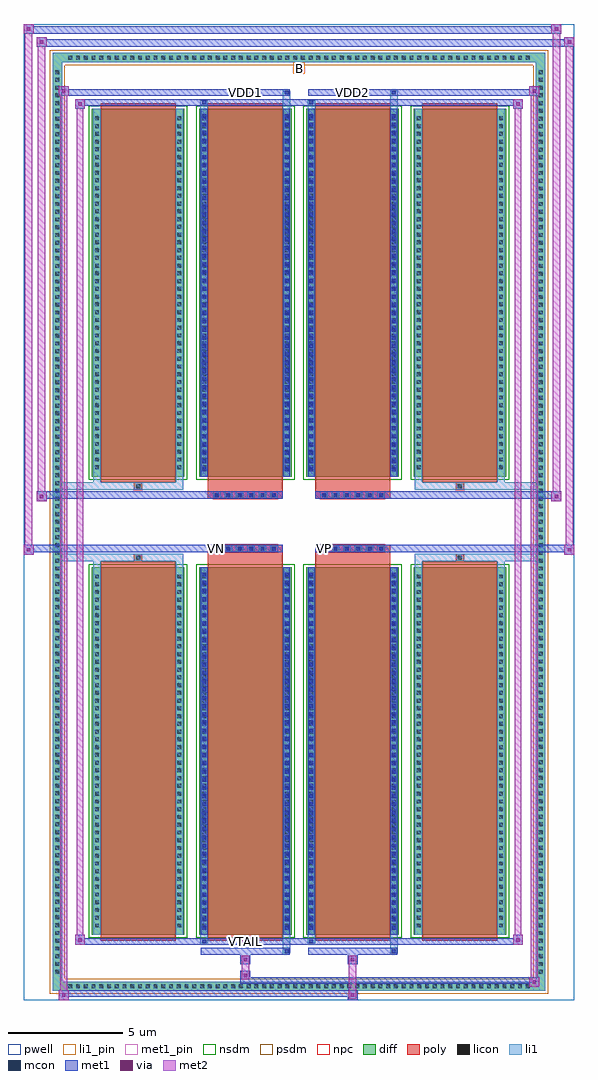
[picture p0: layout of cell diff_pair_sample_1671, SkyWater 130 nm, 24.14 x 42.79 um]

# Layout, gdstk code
import gdstk
lib = gdstk.Library(unit=1e-6, precision=5e-09)
def R(c, l, rs):  # rectangles x0, y0, x1, y1
    for r in rs: c.add(gdstk.rectangle(r[:2], r[2:], *l))
def A(c, l, x, y, w, h, nx, ny, dx, dy):  # array of equal rectangles
    R(c, l, [(x+i*dx, y+j*dy, x+i*dx+w, y+j*dy+h) for i in range(nx) for j in range(ny)])
def P(c, l, *ps):  # polygons
    for p in ps: c.add(gdstk.Polygon(p, *l))
pwell = (64, 44)
diff = (65, 20)
poly = (66, 20)
licon = (66, 44)
li1_pin = (67, 16)
li1 = (67, 20)
mcon = (67, 44)
met1_pin = (68, 16)
met1 = (68, 20)
via = (68, 44)
met2 = (69, 20)
nsdm = (93, 44)
psdm = (94, 20)
npc = (95, 20)

diff_pair_sample_1671 = lib.new_cell('diff_pair_sample_1671')
R(diff_pair_sample_1671, pwell, [(-12.07,-20.96,12.07,21.83), (-9.39,-19.15,-0.01,-0.805), (0.01,-19.15,9.39,-0.805), (-9.39,0.805,-0.01,19.15), (0.01,0.805,9.39,19.15)])
A(diff_pair_sample_1671, diff, -10.235, -20.56, 0.41, 0.41, 60, 2, 0.34, 40.71)
A(diff_pair_sample_1671, diff, -10.8, -19.925, 0.41, 0.41, 1, 117, 0, 0.34)
A(diff_pair_sample_1671, diff, 10.39, -19.925, 0.41, 0.41, 1, 117, 0, 0.34)
A(diff_pair_sample_1671, diff, -9.08, -18.105, 4.06, 16.12, 4, 2, 4.7, 20.09)
R(diff_pair_sample_1671, diff, [(-10.235,-20.56,10.235,-20.15), (-10.8,-19.925,-10.39,19.925), (10.39,-19.925,10.8,19.925), (-10.235,20.15,10.235,20.56)])
P(diff_pair_sample_1671, diff, [(10.8,20.56),(-10.8,20.56),(-10.8,-20.15),(-10.39,-20.15),(-10.39,20.15),(10.39,20.15),(10.39,-20.15),(-10.39,-20.15),(-10.8,-20.15),(-10.8,-20.56),(10.8,-20.56)])
A(diff_pair_sample_1671, poly, -8.69, -18.355, 3.28, 16.62, 4, 2, 4.7, 20.09)
A(diff_pair_sample_1671, poly, -3.765, -1.335, 0.33, 0.33, 6, 2, 0.5, 2.34)
A(diff_pair_sample_1671, poly, 0.935, -1.335, 0.33, 0.33, 6, 2, 0.5, 2.34)
R(diff_pair_sample_1671, poly, [(-7.215,-1.735,-6.885,-1.405), (-7.215,-1.735,-6.885,-1.405), (-3.99,-1.735,-0.71,-1.335), (0.71,-1.735,3.99,-1.335), (6.885,-1.735,7.215,-1.405), (6.885,-1.735,7.215,-1.405), (-3.99,-1.335,-0.71,-1.005), (0.71,-1.335,3.99,-1.005), (-3.99,1.005,-0.71,1.335), (0.71,1.005,3.99,1.335), (-3.99,1.335,-0.71,1.735), (0.71,1.335,3.99,1.735), (-7.215,1.405,-6.885,1.735), (-7.215,1.405,-6.885,1.735), (6.885,1.405,7.215,1.735), (6.885,1.405,7.215,1.735)])
A(diff_pair_sample_1671, licon, -10.115, -20.44, 0.17, 0.17, 60, 2, 0.34, 40.71)
A(diff_pair_sample_1671, licon, -10.68, -19.805, 0.17, 0.17, 1, 117, 0, 0.34)
A(diff_pair_sample_1671, licon, 10.51, -19.805, 0.17, 0.17, 1, 117, 0, 0.34)
A(diff_pair_sample_1671, licon, -8.94, -17.78, 0.17, 0.17, 1, 46, 0, 0.34)
A(diff_pair_sample_1671, licon, -5.33, -17.78, 0.17, 0.17, 1, 46, 0, 0.34)
A(diff_pair_sample_1671, licon, -4.24, -17.78, 0.17, 0.17, 1, 46, 0, 0.34)
A(diff_pair_sample_1671, licon, -0.63, -17.78, 0.17, 0.17, 1, 46, 0, 0.34)
A(diff_pair_sample_1671, licon, 0.46, -17.78, 0.17, 0.17, 1, 46, 0, 0.34)
A(diff_pair_sample_1671, licon, 4.07, -17.78, 0.17, 0.17, 1, 46, 0, 0.34)
A(diff_pair_sample_1671, licon, 5.16, -17.78, 0.17, 0.17, 1, 46, 0, 0.34)
A(diff_pair_sample_1671, licon, 8.77, -17.78, 0.17, 0.17, 1, 46, 0, 0.34)
A(diff_pair_sample_1671, licon, -3.685, -1.255, 0.17, 0.17, 6, 2, 0.5, 2.34)
A(diff_pair_sample_1671, licon, 1.015, -1.255, 0.17, 0.17, 6, 2, 0.5, 2.34)
A(diff_pair_sample_1671, licon, -8.94, 2.31, 0.17, 0.17, 1, 46, 0, 0.34)
A(diff_pair_sample_1671, licon, -5.33, 2.31, 0.17, 0.17, 1, 46, 0, 0.34)
A(diff_pair_sample_1671, licon, -4.24, 2.31, 0.17, 0.17, 1, 46, 0, 0.34)
A(diff_pair_sample_1671, licon, -0.63, 2.31, 0.17, 0.17, 1, 46, 0, 0.34)
A(diff_pair_sample_1671, licon, 0.46, 2.31, 0.17, 0.17, 1, 46, 0, 0.34)
A(diff_pair_sample_1671, licon, 4.07, 2.31, 0.17, 0.17, 1, 46, 0, 0.34)
A(diff_pair_sample_1671, licon, 5.16, 2.31, 0.17, 0.17, 1, 46, 0, 0.34)
A(diff_pair_sample_1671, licon, 8.77, 2.31, 0.17, 0.17, 1, 46, 0, 0.34)
R(diff_pair_sample_1671, licon, [(-7.135,-1.655,-6.965,-1.485), (6.965,-1.655,7.135,-1.485), (-7.135,1.485,-6.965,1.655), (6.965,1.485,7.135,1.655)])
R(diff_pair_sample_1671, li1_pin, [(-0.25,19.65,0.25,20.15)])
A(diff_pair_sample_1671, li1, -10.195, -20.52, 0.33, 0.33, 60, 2, 0.34, 40.71)
A(diff_pair_sample_1671, li1, -10.76, -19.885, 0.33, 0.33, 1, 117, 0, 0.34)
A(diff_pair_sample_1671, li1, 10.43, -19.885, 0.33, 0.33, 1, 117, 0, 0.34)
A(diff_pair_sample_1671, li1, -4.24, -17.87, 0.17, 0.17, 1, 44, 0, 0.36)
A(diff_pair_sample_1671, li1, -0.63, -17.87, 0.17, 0.17, 1, 44, 0, 0.36)
A(diff_pair_sample_1671, li1, 0.46, -17.87, 0.17, 0.17, 1, 44, 0, 0.36)
A(diff_pair_sample_1671, li1, 4.07, -17.87, 0.17, 0.17, 1, 44, 0, 0.36)
A(diff_pair_sample_1671, li1, -9.02, -17.86, 0.33, 0.33, 1, 46, 0, 0.34)
A(diff_pair_sample_1671, li1, -5.41, -17.86, 0.33, 0.33, 1, 46, 0, 0.34)
A(diff_pair_sample_1671, li1, -4.32, -17.86, 0.33, 0.33, 1, 46, 0, 0.34)
A(diff_pair_sample_1671, li1, -0.71, -17.86, 0.33, 0.33, 1, 46, 0, 0.34)
A(diff_pair_sample_1671, li1, 0.38, -17.86, 0.33, 0.33, 1, 46, 0, 0.34)
A(diff_pair_sample_1671, li1, 3.99, -17.86, 0.33, 0.33, 1, 46, 0, 0.34)
A(diff_pair_sample_1671, li1, 5.08, -17.86, 0.33, 0.33, 1, 46, 0, 0.34)
A(diff_pair_sample_1671, li1, 8.69, -17.86, 0.33, 0.33, 1, 46, 0, 0.34)
A(diff_pair_sample_1671, li1, -3.765, -1.335, 0.33, 0.33, 6, 2, 0.5, 2.34)
A(diff_pair_sample_1671, li1, 0.935, -1.335, 0.33, 0.33, 6, 2, 0.5, 2.34)
A(diff_pair_sample_1671, li1, -4.24, 2.22, 0.17, 0.17, 1, 44, 0, 0.36)
A(diff_pair_sample_1671, li1, -0.63, 2.22, 0.17, 0.17, 1, 44, 0, 0.36)
A(diff_pair_sample_1671, li1, 0.46, 2.22, 0.17, 0.17, 1, 44, 0, 0.36)
A(diff_pair_sample_1671, li1, 4.07, 2.22, 0.17, 0.17, 1, 44, 0, 0.36)
A(diff_pair_sample_1671, li1, -9.02, 2.23, 0.33, 0.33, 1, 46, 0, 0.34)
A(diff_pair_sample_1671, li1, -5.41, 2.23, 0.33, 0.33, 1, 46, 0, 0.34)
A(diff_pair_sample_1671, li1, -4.32, 2.23, 0.33, 0.33, 1, 46, 0, 0.34)
A(diff_pair_sample_1671, li1, -0.71, 2.23, 0.33, 0.33, 1, 46, 0, 0.34)
A(diff_pair_sample_1671, li1, 0.38, 2.23, 0.33, 0.33, 1, 46, 0, 0.34)
A(diff_pair_sample_1671, li1, 3.99, 2.23, 0.33, 0.33, 1, 46, 0, 0.34)
A(diff_pair_sample_1671, li1, 5.08, 2.23, 0.33, 0.33, 1, 46, 0, 0.34)
A(diff_pair_sample_1671, li1, 8.69, 2.23, 0.33, 0.33, 1, 46, 0, 0.34)
R(diff_pair_sample_1671, li1, [(-10.8,-20.56,-10.39,-20.15), (-10.8,-20.56,-10.39,-20.15), (-10.39,-20.56,10.39,-20.15), (10.39,-20.56,10.8,-20.15), (10.39,-20.56,10.8,-20.15), (-10.8,-20.15,-10.39,20.15), (10.39,-20.15,10.8,20.15), (-0.71,-18.91,-0.38,-18.105), (-0.63,-18.91,-0.46,-18.74), (3.99,-18.91,4.32,-18.105), (4.07,-18.91,4.24,-18.74), (-4.32,-18.48,-3.99,-18.105), (-4.24,-18.48,-4.07,-18.31), (0.38,-18.48,0.71,-18.105), (0.46,-18.48,0.63,-18.31), (-9.02,-18.105,-8.69,-1.985), (-5.41,-18.105,-5.08,-1.985), (-4.32,-18.105,-3.99,-1.985), (-0.71,-18.105,-0.38,-1.985), (0.38,-18.105,0.71,-1.985), (3.99,-18.105,4.32,-1.985), (5.08,-18.105,5.41,-1.985), (8.69,-18.105,9.02,-1.985), (-4.24,-17.87,-4.07,-2.22), (-0.63,-17.87,-0.46,-2.22), (0.46,-17.87,0.63,-2.22), (4.07,-17.87,4.24,-2.22), (-9.02,-1.985,-8.69,-1.405), (-5.41,-1.985,-5.08,-1.405), (5.08,-1.985,5.41,-1.405), (8.69,-1.985,9.02,-1.405), (-10.8,-1.735,-7.215,-1.405), (-9.02,-1.735,-7.215,-1.405), (-7.215,-1.735,-6.885,-1.405), (-6.885,-1.735,-5.08,-1.405), (5.08,-1.735,6.885,-1.405), (6.885,-1.735,7.215,-1.405), (6.885,-1.735,10.8,-1.405), (7.215,-1.735,9.02,-1.405), (-10.8,1.405,-7.215,1.735), (-9.02,1.405,-7.215,1.735), (-9.02,1.405,-8.69,1.985), (-7.215,1.405,-6.885,1.735), (-6.885,1.405,-5.08,1.735), (-5.41,1.405,-5.08,1.985), (5.08,1.405,6.885,1.735), (5.08,1.405,5.41,1.985), (6.885,1.405,7.215,1.735), (6.885,1.405,10.8,1.735), (7.215,1.405,9.02,1.735), (8.69,1.405,9.02,1.985), (-9.02,1.985,-8.69,18.105), (-5.41,1.985,-5.08,18.105), (-4.32,1.985,-3.99,18.105), (-0.71,1.985,-0.38,18.105), (0.38,1.985,0.71,18.105), (3.99,1.985,4.32,18.105), (5.08,1.985,5.41,18.105), (8.69,1.985,9.02,18.105), (-4.24,2.22,-4.07,17.87), (-0.63,2.22,-0.46,17.87), (0.46,2.22,0.63,17.87), (4.07,2.22,4.24,17.87), (-4.32,18.105,-3.99,18.48), (-0.71,18.105,-0.38,18.91), (0.38,18.105,0.71,18.48), (3.99,18.105,4.32,18.91), (-4.24,18.31,-4.07,18.48), (0.46,18.31,0.63,18.48), (-0.63,18.74,-0.46,18.91), (4.07,18.74,4.24,18.91), (-10.8,20.15,-10.39,20.56), (-10.8,20.15,-10.39,20.56), (-10.39,20.15,10.39,20.56), (10.39,20.15,10.8,20.56), (10.39,20.15,10.8,20.56)])
A(diff_pair_sample_1671, mcon, -4.24, -17.87, 0.17, 0.17, 1, 44, 0, 0.36)
A(diff_pair_sample_1671, mcon, -0.63, -17.87, 0.17, 0.17, 1, 44, 0, 0.36)
A(diff_pair_sample_1671, mcon, 0.46, -17.87, 0.17, 0.17, 1, 44, 0, 0.36)
A(diff_pair_sample_1671, mcon, 4.07, -17.87, 0.17, 0.17, 1, 44, 0, 0.36)
A(diff_pair_sample_1671, mcon, -3.685, -1.255, 0.17, 0.17, 6, 2, 0.5, 2.34)
A(diff_pair_sample_1671, mcon, 1.015, -1.255, 0.17, 0.17, 6, 2, 0.5, 2.34)
A(diff_pair_sample_1671, mcon, -4.24, 2.22, 0.17, 0.17, 1, 44, 0, 0.36)
A(diff_pair_sample_1671, mcon, -0.63, 2.22, 0.17, 0.17, 1, 44, 0, 0.36)
A(diff_pair_sample_1671, mcon, 0.46, 2.22, 0.17, 0.17, 1, 44, 0, 0.36)
A(diff_pair_sample_1671, mcon, 4.07, 2.22, 0.17, 0.17, 1, 44, 0, 0.36)
R(diff_pair_sample_1671, mcon, [(-0.63,-18.91,-0.46,-18.74), (4.07,-18.91,4.24,-18.74), (-4.24,-18.48,-4.07,-18.31), (0.46,-18.48,0.63,-18.31), (-4.24,18.31,-4.07,18.48), (0.46,18.31,0.63,18.48), (-0.63,18.74,-0.46,18.91), (4.07,18.74,4.24,18.91)])
R(diff_pair_sample_1671, met1_pin, [(-2.485,-18.52,-2.215,-18.25), (-3.735,-1.295,-3.465,-1.025), (0.965,-1.295,1.235,-1.025), (-2.485,18.7,-2.215,18.97), (2.215,18.7,2.485,18.97)])
A(diff_pair_sample_1671, met1, -4.3, -17.93, 0.29, 0.29, 1, 44, 0, 0.36)
A(diff_pair_sample_1671, met1, -0.69, -17.93, 0.29, 0.29, 1, 44, 0, 0.36)
A(diff_pair_sample_1671, met1, 0.4, -17.93, 0.29, 0.29, 1, 44, 0, 0.36)
A(diff_pair_sample_1671, met1, 4.01, -17.93, 0.29, 0.29, 1, 44, 0, 0.36)
A(diff_pair_sample_1671, met1, -3.745, -1.315, 0.29, 0.29, 6, 2, 0.5, 2.34)
A(diff_pair_sample_1671, met1, 0.955, -1.315, 0.29, 0.29, 6, 2, 0.5, 2.34)
A(diff_pair_sample_1671, met1, -4.3, 2.16, 0.29, 0.29, 1, 44, 0, 0.36)
A(diff_pair_sample_1671, met1, -0.69, 2.16, 0.29, 0.29, 1, 44, 0, 0.36)
A(diff_pair_sample_1671, met1, 0.4, 2.16, 0.29, 0.29, 1, 44, 0, 0.36)
A(diff_pair_sample_1671, met1, 4.01, 2.16, 0.29, 0.29, 1, 44, 0, 0.36)
R(diff_pair_sample_1671, met1, [(-10.53,-20.96,-10.1,-20.53), (2.135,-20.96,2.565,-20.53), (-10.53,-20.82,2.565,-20.53), (10.1,-20.39,10.53,-19.96), (-2.565,-20.25,10.53,-19.96), (-2.565,-20.11,-2.135,-19.68), (-2.565,-19.4,-2.135,-18.97), (2.135,-19.4,2.565,-18.97), (-4.3,-18.97,-0.4,-18.68), (-0.69,-18.97,-0.4,-18.68), (0.4,-18.97,4.3,-18.68), (4.01,-18.97,4.3,-18.68), (-9.82,-18.54,-9.39,-18.11), (-9.82,-18.54,-4.3,-18.25), (-4.3,-18.54,-4.01,-18.25), (-4.3,-18.54,-0.4,-18.25), (-0.4,-18.54,0.4,-18.25), (0.4,-18.54,0.69,-18.25), (0.4,-18.54,4.3,-18.25), (4.3,-18.54,9.82,-18.25), (9.39,-18.54,9.82,-18.11), (-4.3,-18.105,-4.01,-1.985), (-0.69,-18.105,-0.4,-1.985), (0.4,-18.105,0.69,-1.985), (4.01,-18.105,4.3,-1.985), (-12.07,-1.435,-11.64,-1.005), (11.64,-1.435,12.07,-1.005), (-12.07,-1.335,-0.71,-1.005), (-3.99,-1.335,-0.71,-1.005), (0.71,-1.335,3.99,-1.005), (0.71,-1.335,12.07,-1.005), (-11.5,0.905,-11.07,1.335), (11.07,0.905,11.5,1.335), (-11.5,1.005,-3.99,1.335), (-3.99,1.005,-0.71,1.335), (0.71,1.005,3.99,1.335), (3.99,1.005,11.5,1.335), (-4.3,1.985,-4.01,18.105), (-0.69,1.985,-0.4,18.105), (0.4,1.985,0.69,18.105), (4.01,1.985,4.3,18.105), (-9.82,18.11,-9.39,18.54), (9.39,18.11,9.82,18.54), (-9.82,18.25,-4.3,18.54), (-4.3,18.25,-4.01,18.54), (-4.3,18.25,-0.4,18.54), (-0.4,18.25,0.4,18.54), (0.4,18.25,0.69,18.54), (0.4,18.25,4.3,18.54), (4.3,18.25,9.82,18.54), (-10.53,18.68,-10.1,19.11), (-10.53,18.68,-4.3,18.97), (-4.3,18.68,-0.4,18.97), (-0.69,18.68,-0.4,18.97), (0.4,18.68,4.3,18.97), (4.01,18.68,4.3,18.97), (4.3,18.68,10.53,18.97), (10.1,18.68,10.53,19.11), (-11.5,20.83,-11.07,21.26), (-11.5,20.83,-9.39,21.16), (-9.39,20.83,9.39,21.16), (9.39,20.83,12.07,21.16), (11.64,20.83,12.07,21.26), (-12.07,21.4,-11.64,21.83), (-12.07,21.4,-9.39,21.73), (-9.39,21.4,9.39,21.73), (9.39,21.4,11.5,21.73), (11.07,21.4,11.5,21.83)])
R(diff_pair_sample_1671, via, [(-10.39,-20.82,-10.24,-20.67), (2.275,-20.82,2.425,-20.67), (10.24,-20.25,10.39,-20.1), (-2.425,-19.97,-2.275,-19.82), (-2.425,-19.26,-2.275,-19.11), (2.275,-19.26,2.425,-19.11), (-9.68,-18.4,-9.53,-18.25), (9.53,-18.4,9.68,-18.25), (-11.93,-1.295,-11.78,-1.145), (11.78,-1.295,11.93,-1.145), (-11.36,1.045,-11.21,1.195), (11.21,1.045,11.36,1.195), (-9.68,18.25,-9.53,18.4), (9.53,18.25,9.68,18.4), (-10.39,18.82,-10.24,18.97), (10.24,18.82,10.39,18.97), (-11.36,20.97,-11.21,21.12), (11.78,20.97,11.93,21.12), (-11.93,21.54,-11.78,21.69), (11.21,21.54,11.36,21.69)])
R(diff_pair_sample_1671, met2, [(-10.53,-20.96,-10.1,-20.53), (-10.46,-20.96,-10.17,19.11), (-10.17,-20.96,-10.1,-20.53), (-10.48,-20.91,-10.15,-20.58), (2.185,-20.91,2.515,-20.58), (2.185,-20.58,2.515,-19.35), (10.1,-20.39,10.53,-19.96), (10.17,-20.39,10.46,19.11), (10.46,-20.39,10.53,-19.96), (10.15,-20.34,10.48,-20.01), (-2.515,-20.06,-2.185,-19.73), (-2.515,-19.73,-2.185,-19.35), (-2.515,-19.35,-2.185,-19.02), (2.185,-19.35,2.515,-19.02), (-9.82,-18.54,-9.39,-18.11), (-9.75,-18.54,-9.46,18.54), (-9.46,-18.54,-9.39,-18.11), (9.39,-18.54,9.82,-18.11), (9.46,-18.54,9.75,18.54), (9.75,-18.54,9.82,-18.11), (-9.77,-18.49,-9.44,-18.16), (9.44,-18.49,9.77,-18.16), (-12.07,-1.435,-11.64,-1.005), (-12.02,-1.435,-11.69,21.83), (-11.69,-1.435,-11.64,-1.005), (11.64,-1.435,12.07,-1.005), (11.69,-1.435,12.02,21.26), (12.02,-1.435,12.07,-1.005), (-12.02,-1.385,-11.69,-1.055), (11.69,-1.385,12.02,-1.055), (-11.5,0.905,-11.07,1.335), (-11.45,0.905,-11.12,21.26), (-11.12,0.905,-11.07,1.335), (11.07,0.905,11.5,1.335), (11.12,0.905,11.45,21.83), (11.45,0.905,11.5,1.335), (-11.45,0.955,-11.12,1.285), (11.12,0.955,11.45,1.285), (-9.82,18.11,-9.39,18.54), (-9.46,18.11,-9.39,18.54), (9.39,18.11,9.82,18.54), (9.75,18.11,9.82,18.54), (-9.77,18.16,-9.44,18.49), (9.44,18.16,9.77,18.49), (-10.53,18.68,-10.1,19.11), (-10.17,18.68,-10.1,19.11), (10.1,18.68,10.53,19.11), (10.46,18.68,10.53,19.11), (-10.48,18.73,-10.15,19.06), (10.15,18.73,10.48,19.06), (-11.5,20.83,-11.07,21.26), (-11.12,20.83,-11.07,21.26), (11.64,20.83,12.07,21.26), (12.02,20.83,12.07,21.26), (-11.45,20.88,-11.12,21.21), (11.69,20.88,12.02,21.21), (-12.07,21.4,-11.64,21.83), (-11.69,21.4,-11.64,21.83), (11.07,21.4,11.5,21.83), (11.45,21.4,11.5,21.83), (-12.02,21.45,-11.69,21.78), (11.12,21.45,11.45,21.78)])
A(diff_pair_sample_1671, nsdm, -9.21, -18.235, 4.32, 16.38, 4, 2, 4.7, 20.09)
P(diff_pair_sample_1671, psdm, [(10.93,20.69),(-10.93,20.69),(-10.93,-20.02),(-10.26,-20.02),(-10.26,20.02),(10.26,20.02),(10.26,-20.02),(-10.26,-20.02),(-10.93,-20.02),(-10.93,-20.69),(10.93,-20.69)])
A(diff_pair_sample_1671, npc, -3.785, -1.355, 0.37, 0.37, 6, 2, 0.5, 2.34)
A(diff_pair_sample_1671, npc, 0.915, -1.355, 0.37, 0.37, 6, 2, 0.5, 2.34)
R(diff_pair_sample_1671, npc, [(-7.235,-1.755,-6.865,-1.385), (6.865,-1.755,7.235,-1.385), (-3.785,-1.355,-2.915,-0.985), (-3.785,-1.355,-2.915,-0.985), (-3.285,-1.355,-2.415,-0.985), (-3.285,-1.355,-2.415,-0.985), (-2.785,-1.355,-1.915,-0.985), (-2.785,-1.355,-1.915,-0.985), (-2.285,-1.355,-1.415,-0.985), (-2.285,-1.355,-1.415,-0.985), (-1.785,-1.355,-0.915,-0.985), (-1.785,-1.355,-0.915,-0.985), (0.915,-1.355,1.785,-0.985), (0.915,-1.355,1.785,-0.985), (1.415,-1.355,2.285,-0.985), (1.415,-1.355,2.285,-0.985), (1.915,-1.355,2.785,-0.985), (1.915,-1.355,2.785,-0.985), (2.415,-1.355,3.285,-0.985), (2.415,-1.355,3.285,-0.985), (2.915,-1.355,3.785,-0.985), (2.915,-1.355,3.785,-0.985), (-3.785,0.985,-2.915,1.355), (-3.785,0.985,-2.915,1.355), (-3.285,0.985,-2.415,1.355), (-3.285,0.985,-2.415,1.355), (-2.785,0.985,-1.915,1.355), (-2.785,0.985,-1.915,1.355), (-2.285,0.985,-1.415,1.355), (-2.285,0.985,-1.415,1.355), (-1.785,0.985,-0.915,1.355), (-1.785,0.985,-0.915,1.355), (0.915,0.985,1.785,1.355), (0.915,0.985,1.785,1.355), (1.415,0.985,2.285,1.355), (1.415,0.985,2.285,1.355), (1.915,0.985,2.785,1.355), (1.915,0.985,2.785,1.355), (2.415,0.985,3.285,1.355), (2.415,0.985,3.285,1.355), (2.915,0.985,3.785,1.355), (2.915,0.985,3.785,1.355), (-7.235,1.385,-6.865,1.755), (6.865,1.385,7.235,1.755)])
diff_pair_sample_1671.add(gdstk.Label('VTAIL', (-2.35,-18.385), layer=68, texttype=5))
diff_pair_sample_1671.add(gdstk.Label('VN', (-3.6,-1.16), layer=68, texttype=5))
diff_pair_sample_1671.add(gdstk.Label('VP', (1.1,-1.16), layer=68, texttype=5))
diff_pair_sample_1671.add(gdstk.Label('B', (0,19.9), layer=67, texttype=5))
diff_pair_sample_1671.add(gdstk.Label('VDD2', (2.35,18.835), layer=68, texttype=5))
diff_pair_sample_1671.add(gdstk.Label('VDD1', (-2.35,18.835), layer=68, texttype=5))

lib.write_gds('diff_pair_sample_1671.gds')
